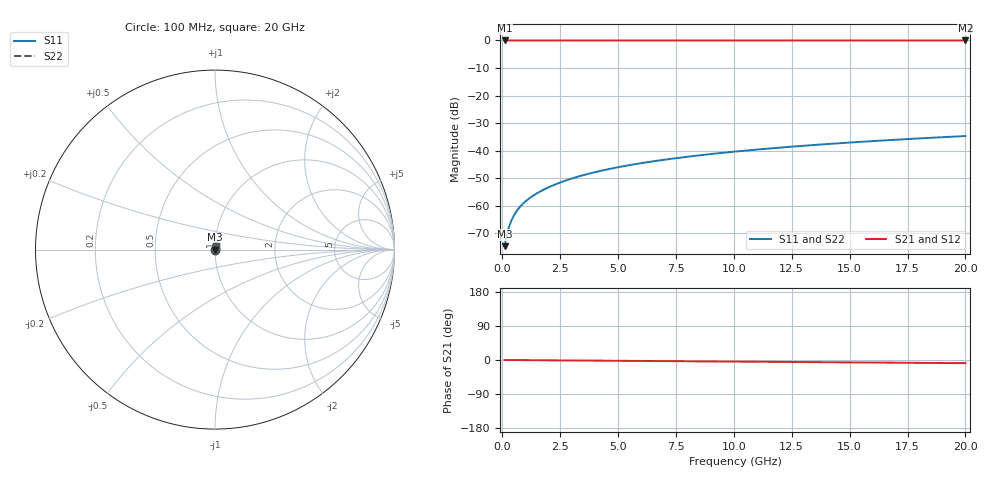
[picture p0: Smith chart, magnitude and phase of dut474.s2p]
! Touchstone file exported from HFSS 2026.1.0
!  File:  C:/ffzhzh/LocalFiles/Ansys_Project_Files/temp_train_TSV_474_1783022419_55676.aedt
!  Generated:  04:02:29 AM Jul  3, 2026
!  Design:  TSV
!  Project:  temp_train_TSV_474_1783022419_55676
! Variables:
!  h_bsmrdl = 2um
!  h_ox = 20um
!  h_rdl = 5um
!  h_sub = 82.16um
!  h_tmrdl = 5um
!  h_tsv = 82.16um
!  h_via = 3um
!  l_bsmrdl = 300um
!  l_sub = 420.46um
!  l_tmrdl = 200um
!  m_sub = 200um
!  pitch = 47.57um
!  r_tsv = 10.23um
!  s_tmrdl = 10um
!  w_bsmrdl = 18um
!  w_sub = 500um
!  w_tmrdl = 12um
!  x_tsv_center1 = 206um
!  x_tsv_center2 = 524um
!  x_tsv_center3 = 736um
!  x_tsv_center4 = 1054um
!  x_tsv_center5 = 1266um
!  x_tsv_center6 = 1584um
# GHz S MA R 50.000000
! Terminal data exported
! Port[1] = TSV1_1_T1
! Port[2] = TSV1_1_T2
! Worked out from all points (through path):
!   200 points, 100 MHz to 20 GHz, reference 50 ohm
!   highest |S21| = 0.00 dB at 100 MHz (marker M1); lowest = 0.0 dB at 20 GHz (marker M2)
!   group delay of S21, straight-line fit = 1.16 ps
!   lowest |S11| = -74.7 dB at 100 MHz (marker M3), VSWR 1.00, Z = 50 + j0.0134 ohm
!   |S11| at or under -10 dB: start of sweep to end of sweep
!   |S22| runs from -74.7 to -34.7 dB; largest |S21 - S12| = 2.2e-15
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0.1  0.0001833 47.2  0.9999 -0.0  0.9999 -0.0  0.0001833 47.2
! Gamma 0 0 0 0
! Port Impedance 50 0 50 0
0.2  0.0002992 62.9  0.9999 -0.1  0.9999 -0.1  0.0002992 62.9
0.3  0.0004226 68.6  0.9998 -0.1  0.9998 -0.1  0.0004226 68.6
0.4  0.0005443 71.1  0.9998 -0.2  0.9998 -0.2  0.0005443 71.1
0.5  0.0006617 72.4  0.9998 -0.2  0.9998 -0.2  0.0006617 72.4
0.6  0.0007745 73.2  0.9998 -0.3  0.9998 -0.3  0.0007745 73.2
0.7  0.0008831 73.7  0.9998 -0.3  0.9998 -0.3  0.0008831 73.7
0.8  0.0009882 74.1  0.9997 -0.3  0.9997 -0.3  0.0009882 74.1
1  0.001191 74.9  0.9997 -0.4  0.9997 -0.4  0.001191 74.9
1.4  0.00158 76.3  0.9996 -0.6  0.9996 -0.6  0.00158 76.3
1.7  0.001867 77.2  0.9996 -0.7  0.9996 -0.7  0.001867 77.2
2  0.002153 78.0  0.9996 -0.9  0.9996 -0.9  0.002153 78.0
2.7  0.00282 79.2  0.9995 -1.1  0.9995 -1.1  0.00282 79.2
3.5  0.003578 80.0  0.9995 -1.5  0.9995 -1.5  0.003578 80.0
4.2  0.004237 80.3  0.9994 -1.8  0.9994 -1.8  0.004237 80.3
5  0.004982 80.6  0.9994 -2.1  0.9994 -2.1  0.004982 80.6
6.8  0.006637 80.7  0.9992 -2.9  0.9992 -2.9  0.006637 80.7
8.3  0.007998 80.6  0.9991 -3.5  0.9991 -3.5  0.007998 80.6
10.1  0.009619 80.3  0.999 -4.2  0.999 -4.2  0.009619 80.3
13.4  0.01256 79.6  0.9989 -5.6  0.9989 -5.6  0.01256 79.6
16.7  0.01548 78.7  0.9987 -7.0  0.9987 -7.0  0.01548 78.7
20  0.01835 77.6  0.9985 -8.4  0.9985 -8.4  0.01835 77.6
